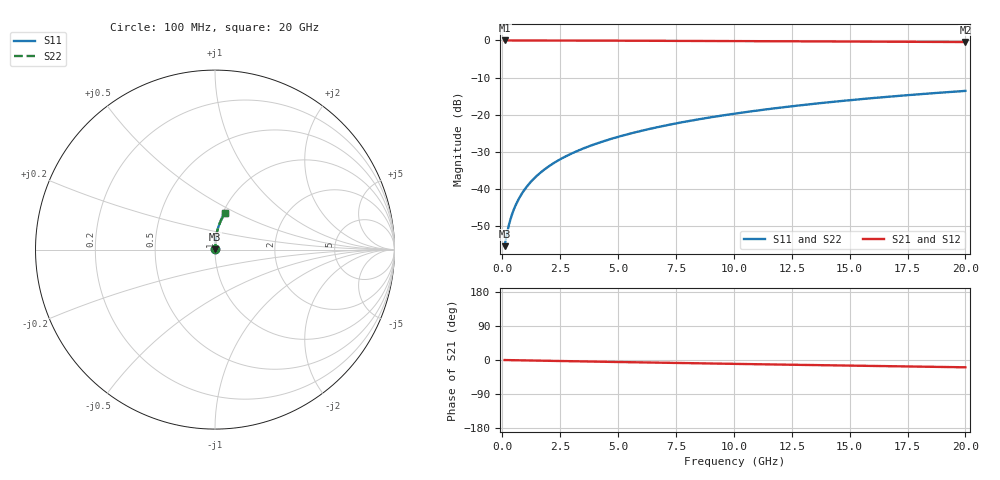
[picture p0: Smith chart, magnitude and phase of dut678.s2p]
! Touchstone file exported from HFSS 2024.1.0
!  File:  C:/UserFiles/LocalFiles/RDL_TSV_Batchsim/temp_RDL_bottom_678_1779786478.aedt
!  Generated:  05:10:26 PM May 26, 2026
!  Design:  RDL_bottom
!  Project:  temp_RDL_bottom_678_1779786478
!  Setup:  Setup1
!  Solution:  Sweep
! Variables:
!  dtsv = 10.80580581um
!  hbump = 3um
!  htsv = 96.53um
!  ldown = 257.34um
!  lrdl = 100um
!  p = 40
!  p1 = 41.55um
!  rhole = 1um
!  t = 450um
!  tdown = 4.63um
!  trdl = 3.915915916um
!  wdown = 16.67um
!  wrdl = 20um
# GHz S MA R 50.000000
! Terminal data exported
! Port[1] = RDL1_T1
! Port[2] = RDL1_T2
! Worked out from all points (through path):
!   200 points, 100 MHz to 20 GHz, reference 50 ohm
!   highest |S21| = -0.01 dB at 100 MHz (marker M1); lowest = -0.4 dB at 20 GHz (marker M2)
!   group delay of S21, straight-line fit = 2.66 ps
!   lowest |S11| = -55.4 dB at 100 MHz (marker M3), VSWR 1.00, Z = 50.1 + j0.107 ohm
!   |S11| at or under -10 dB: start of sweep to end of sweep
!   |S22| runs from -55.4 to -13.6 dB; largest |S21 - S12| = 2e-15
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0.1  0.0017 39.1  0.9987 -0.1  0.9987 -0.1  0.0017 39.1
! Gamma 0 0 0 0
! Port Impedance 50 0 50 0
0.2  0.002517 57.0  0.9986 -0.2  0.9986 -0.2  0.002517 57.0
0.3  0.003428 65.5  0.9986 -0.3  0.9986 -0.3  0.003428 65.5
0.4  0.004365 70.4  0.9985 -0.4  0.9985 -0.4  0.004365 70.4
0.5  0.005316 73.7  0.9984 -0.6  0.9984 -0.6  0.005316 73.7
0.6  0.006277 76.0  0.9984 -0.7  0.9984 -0.7  0.006277 76.0
0.8  0.00822 79.0  0.9983 -0.9  0.9983 -0.9  0.00822 79.0
1.1  0.01117 81.6  0.9981 -1.2  0.9981 -1.2  0.01117 81.6
1.5  0.01513 83.4  0.9978 -1.6  0.9978 -1.6  0.01513 83.4
1.8  0.01811 84.2  0.9975 -2.0  0.9975 -2.0  0.01811 84.2
2.1  0.0211 84.8  0.9971 -2.3  0.9971 -2.3  0.0211 84.8
2.7  0.02709 85.4  0.9964 -2.9  0.9964 -2.9  0.02709 85.4
3.5  0.03513 85.7  0.9951 -3.8  0.9951 -3.8  0.03513 85.7
4.2  0.0422 85.8  0.9938 -4.5  0.9938 -4.5  0.0422 85.8
5  0.05035 85.8  0.9921 -5.3  0.9921 -5.3  0.05034 85.7
5.9  0.0596 85.5  0.99 -6.2  0.99 -6.2  0.0596 85.5
6.8  0.06896 85.2  0.9879 -7.1  0.9879 -7.1  0.06896 85.2
8.4  0.08584 84.4  0.9838 -8.7  0.9838 -8.7  0.08583 84.4
10.1  0.104 83.3  0.9793 -10.3  0.9793 -10.3  0.104 83.2
13.4  0.1396 80.6  0.9702 -13.4  0.9702 -13.4  0.1396 80.6
16.7  0.1748 77.6  0.9608 -16.3  0.9608 -16.3  0.1748 77.6
20  0.2092 74.6  0.951 -19.3  0.951 -19.3  0.2092 74.5
